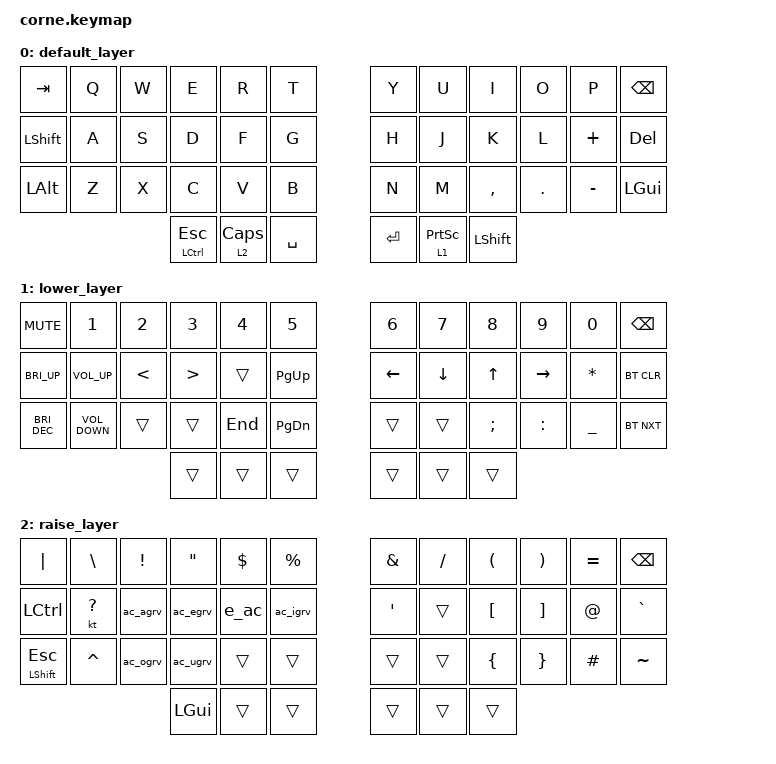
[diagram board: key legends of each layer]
/*
 * Copyright (c) 2020 The ZMK Contributors
 *
 * SPDX-License-Identifier: MIT
 */

#include <behaviors.dtsi>
#include <dt-bindings/zmk/bt.h>
#include <dt-bindings/zmk/keys.h>
#include <dt-bindings/zmk/keys.h>

// My own includes 
// #include "en-combos.dtsi"
#include "en-macros.dtsi"
#include "accents.dtsi"
#include "en-behaviors.dtsi"

// Shortcuts
#define HYPER LC(LS(LA(LGUI)))

/ {
    keymap {
        compatible = "zmk,keymap";

        default_layer {
            // -----------------------------------------------------------------------------------------
            // |  TAB  |  Q  |  W  |  E       |     R    |  T  |   |  Y  |    U    |  I        |  O  |  P  | BSPC |
            // | SHIFT |  A  |  S  |  D       |     F    |  G  |   |  H  |    J    |  K        |  L  |  +  |DELETE|
            // | ALT   |  Z  |  X  |  C       |     V    |  B  |   |  N  |    M    |  ,        |  .  |  -  | GUI  |
            //                     | CTRL,ESC | LWR,CAPS |SPACE|   |ENTER|RSE,PRINT|  SHIFT    |

            bindings = <
&kp TAB      &kp Q  &kp W  &kp E     &kp R       &kp T             &kp Y      &kp U              &kp I           &kp O    &kp P      &kp BSPC
&kp LSHIFT   &kp A  &kp S  &kp D     &kp F       &kp G             &kp H      &kp J              &kp K           &kp L    &kp PLUS   &kp DEL
&kp LEFT_ALT &kp Z  &kp X  &kp C     &kp V       &kp B             &kp N      &kp M              &kp COMMA       &kp DOT  &kp MINUS  &kp LGUI
                    &mt LCTRL ESCAPE &lt 2 CAPS  &kp SPACE  &kp ENTER  &lt 1 PRINTSCREEN  &kp LSHFT
            >;
        };

        lower_layer {
            // -----------------------------------------------------------------------------------------
            // | MUTE |  1   |  2  |  3  |  4  |  5  |   |  6  |  7  |  8  |  9  |  0  | BSPC |
            // |BRI+  | VOL+ |  <  |  >  |     |PGUP |   |LEFT |DOWN | UP  |RGT  |  *  |BTCLR |
            // |BRI-  | VOL- |     |     |END  |PGDN |   |     |     |  ;  |  :  |  _  |BTNXT |
            //                     |     |     |     |   |     |     |     |

            bindings = <
&kp C_MUTE            &kp N1             &kp N2         &kp N3            &kp N4   &kp N5           &kp N6    &kp N7    &kp N8         &kp N9     &kp N0          &kp BSPC
&kp C_BRI_UP          &kp C_VOLUME_UP    &kp LESS_THAN  &kp GREATER_THAN  &trans   &kp PAGE_UP      &kp LEFT  &kp DOWN  &kp UP         &kp RIGHT  &kp ASTERISK    &bt BT_CLR
&kp C_BRIGHTNESS_DEC  &kp C_VOLUME_DOWN  &trans         &trans            &kp END  &kp PAGE_DOWN    &trans    &trans    &kp SEMICOLON  &kp COLON  &kp UNDERSCORE  &bt BT_NXT
                                                        &trans            &trans   &trans           &trans    &trans    &trans
            >;
        };

        raise_layer {
            // -----------------------------------------------------------------------------------------
            // |  "|" |  !  |  "  |  #  |  $  |  %  |   |  &  |  /  |  (  |  )  |  =  | BSPC |
            // | CTRL |  ?  |  à  |  è  |  é  |  ì  |   |  '  |     |  [  |  ]  |  @  |  `   |
            // | SHFT |  ^  |  ò  |  ù  |     |     |   |     |     |  {  |  }  |  #  |  ~   |
            //                    |     |     |     |   |     |     |     |

            bindings = <
&kp PIPE          &kp BACKSLASH  &kp EXCLAMATION  &kp DOUBLE_QUOTES  &kp DLLR  &kp PRCNT    &kp AMPERSAND  &kp SLASH  &kp LEFT_PARENTHESIS  &kp RIGHT_PARENTHESIS  &kp EQUAL    &kp BSPC
&kp LCTRL         &kt QUESTION   &ac_agrv         &ac_egrv           &e_ac     &ac_igrv     &kp APOS       &trans     &kp LBKT              &kp RBKT               &kp AT_SIGN  &kp GRAVE
&mt LSHFT ESCAPE  &kp CARET      &ac_ogrv         &ac_ugrv           &trans    &trans       &trans         &trans     &kp LBRC              &kp RBRC               &kp HASH     &kp TILDE
                                                  &kp LGUI           &trans    &trans       &trans         &trans     &trans
            >;
        };
    };
};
